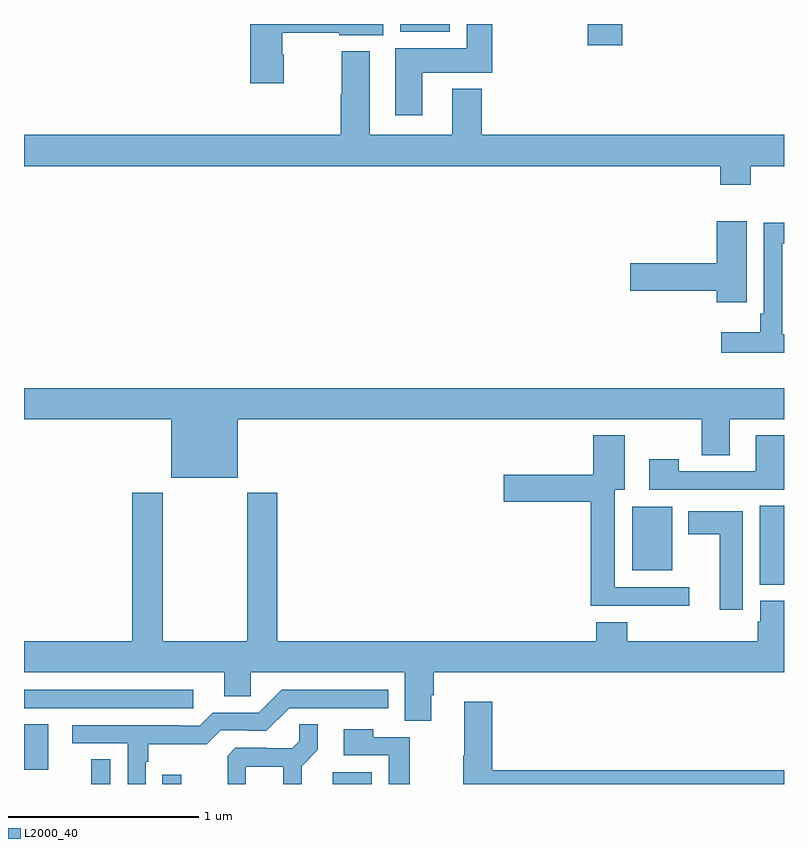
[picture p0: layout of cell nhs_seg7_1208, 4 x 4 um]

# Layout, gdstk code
import gdstk
lib = gdstk.Library(unit=1e-6, precision=1e-09)
def R(c, l, rs):  # rectangles x0, y0, x1, y1
    for r in rs: c.add(gdstk.rectangle(r[:2], r[2:], *l))
def P(c, l, *ps):  # polygons
    for p in ps: c.add(gdstk.Polygon(p, *l))
L2000_40 = (2000, 40)

nhs_seg7_1208 = lib.new_cell('nhs_seg7_1208')
R(nhs_seg7_1208, L2000_40, [(195.355,1028,195.453,1028.129), (195.727,1028,195.828,1028.05), (196.625,1028,196.831,1028.062), (195,1028.076,195.127,1028.315), (195,1028.4,195.892,1028.496), (198.872,1029.049,199,1029.464), (198.2,1029.125,198.412,1029.46), (197.966,1031.889,198.149,1032), (196.979,1031.96,197.242,1032)])
P(nhs_seg7_1208, L2000_40, [(196.368,1031.838),(196.36,1031.838),(196.36,1031.953),(196.658,1031.953),(196.658,1031.942),(196.891,1031.942),(196.891,1032),(196.19,1032),(196.19,1031.688),(196.368,1031.688)],
  [(197.095,1031.744),(197.465,1031.744),(197.465,1032),(197.33,1032),(197.33,1031.872),(196.955,1031.872),(196.955,1031.52),(197.095,1031.52)],
  [(198.825,1031.252),(199,1031.252),(199,1031.416),(197.408,1031.416),(197.408,1031.659),(197.255,1031.659),(197.255,1031.416),(196.819,1031.416),(196.819,1031.857),(196.672,1031.857),(196.672,1031.631),(196.667,1031.631),(196.667,1031.416),(195,1031.416),(195,1031.252),(198.665,1031.252),(198.665,1031.153),(198.825,1031.153)],
  [(198.805,1030.963),(198.647,1030.963),(198.647,1030.742),(198.192,1030.742),(198.192,1030.595),(198.647,1030.595),(198.647,1030.536),(198.805,1030.536)],
  [(199,1030.368),(198.99,1030.368),(198.99,1030.845),(199,1030.845),(199,1030.954),(198.894,1030.954),(198.894,1030.474),(198.874,1030.474),(198.874,1030.378),(198.669,1030.378),(198.669,1030.271),(199,1030.271)],
  [(196.126,1029.92),(198.568,1029.92),(198.568,1029.73),(198.715,1029.73),(198.715,1029.92),(199,1029.92),(199,1030.084),(195,1030.084),(195,1029.92),(195.776,1029.92),(195.776,1029.611),(196.126,1029.611)],
  [(199,1029.835),(198.851,1029.835),(198.851,1029.645),(198.447,1029.645),(198.447,1029.709),(198.291,1029.709),(198.291,1029.549),(199,1029.549)],
  [(198.502,1029.036),(198.109,1029.036),(198.109,1029.548),(198.163,1029.548),(198.163,1029.835),(197.996,1029.835),(197.996,1029.627),(197.526,1029.627),(197.526,1029.485),(197.984,1029.485),(197.984,1028.939),(198.502,1028.939)],
  [(197.143,1028.466),(197.156,1028.466),(197.156,1028.588),(199,1028.588),(199,1028.964),(198.875,1028.964),(198.875,1028.853),(198.863,1028.853),(198.863,1028.752),(198.176,1028.752),(198.176,1028.851),(198.011,1028.851),(198.011,1028.752),(196.334,1028.752),(196.334,1029.532),(196.174,1029.532),(196.174,1028.752),(195.729,1028.752),(195.729,1029.532),(195.569,1029.532),(195.569,1028.752),(195,1028.752),(195,1028.588),(196.055,1028.588),(196.055,1028.461),(196.194,1028.461),(196.194,1028.588),(197.003,1028.588),(197.003,1028.332),(197.143,1028.332)],
  [(198.784,1029.436),(198.497,1029.436),(198.497,1029.314),(198.662,1029.314),(198.662,1028.916),(198.784,1028.916)],
  [(195.642,1028.117),(195.655,1028.117),(195.655,1028.21),(195.962,1028.21),(196.035,1028.283),(196.174,1028.283),(196.174,1028.28),(196.275,1028.28),(196.395,1028.4),(196.918,1028.4),(196.918,1028.496),(196.356,1028.496),(196.236,1028.376),(195.993,1028.376),(195.924,1028.307),(195.824,1028.307),(195.824,1028.31),(195.255,1028.31),(195.255,1028.214),(195.546,1028.214),(195.546,1028),(195.642,1028)],
  [(199,1028.072),(197.465,1028.072),(197.465,1028.434),(197.318,1028.434),(197.318,1028.149),(197.311,1028.149),(197.311,1028),(199,1028)],
  [(196.166,1028.09),(196.364,1028.09),(196.364,1028),(196.461,1028),(196.461,1028.093),(196.547,1028.179),(196.547,1028.315),(196.449,1028.315),(196.449,1028.224),(196.412,1028.187),(196.278,1028.187),(196.278,1028.19),(196.113,1028.19),(196.072,1028.149),(196.072,1028),(196.166,1028)],
  [(197.029,1028.247),(196.839,1028.247),(196.839,1028.287),(196.683,1028.287),(196.683,1028.151),(196.92,1028.151),(196.92,1028),(197.029,1028)])

lib.write_gds('nhs_seg7_1208.gds')
